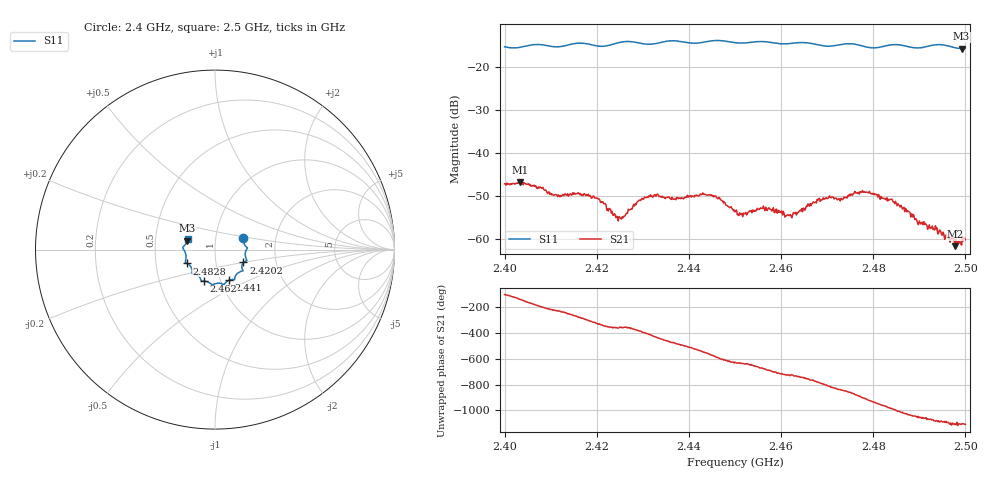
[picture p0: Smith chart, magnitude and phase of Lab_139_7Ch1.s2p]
# Hz S RI R 50
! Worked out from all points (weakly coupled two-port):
!   601 points, 2.4 GHz to 2.5 GHz, reference 50 ohm
!   highest |S21| = -46.79 dB at 2.4033 GHz (marker M1); lowest = -61.6 dB at 2.4978 GHz (marker M2)
!   lowest |S11| = -15.8 dB at 2.4992 GHz (marker M3), VSWR 1.39, Z = 36.4 + j3.68 ohm
!   |S11| at or under -10 dB: start of sweep to end of sweep
!   S12 and S22 are empty: the file has one direction only
!   S11 on the Smith chart (normalised r, x): 2.4 GHz: 1.36, +0.18; 2.4202 GHz: 1.36, -0.20; 2.441 GHz: 1.10, -0.39; 2.462 GHz: 0.84, -0.30; 2.4828 GHz: 0.72, -0.11; 2.5 GHz: 0.73, +0.09
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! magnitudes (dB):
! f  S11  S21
! 2.4 GHz  -15.4  -47.2
! 2.4033 GHz  -15.5  -46.8
! 2.4103 GHz  -15.3  -49.6
! 2.4167 GHz  -14.5  -49.8
! 2.4202 GHz  -15.2  -50.5
! 2.4252 GHz  -14.3  -55.1
! 2.4293 GHz  -14.5  -51.0
! 2.4333 GHz  -14.5  -49.7
! 2.441 GHz  -14.6  -50.0
! 2.4453 GHz  -14.0  -50.2
! 2.45 GHz  -14.4  -53.7
! 2.4522 GHz  -14.5  -54.1
! 2.4562 GHz  -14.2  -52.3
! 2.462 GHz  -14.6  -54.3
! 2.4667 GHz  -14.6  -51.8
! 2.4777 GHz  -15.2  -48.7
! 2.4828 GHz  -15.1  -50.9
! 2.4833 GHz  -15.0  -50.7
! 2.49 GHz  -15.6  -55.8
! 2.4978 GHz  -15.6  -61.6
! 2.4992 GHz  -15.8  -61.4
! 2.5 GHz  -15.7  -60.1
